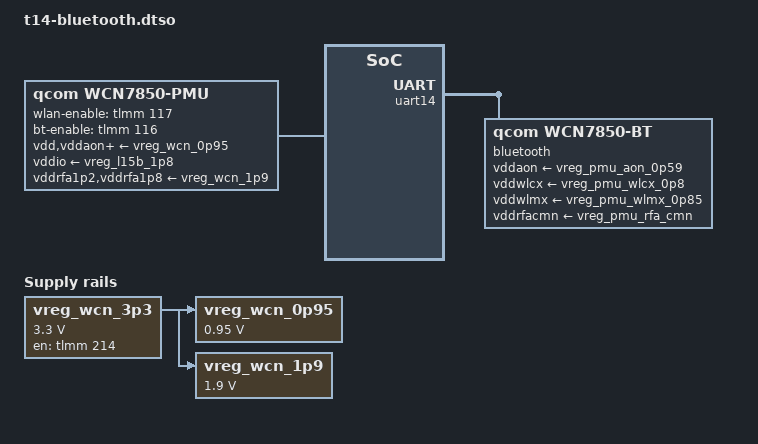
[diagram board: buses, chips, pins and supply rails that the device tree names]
// SPDX-License-Identifier: BSD-3-Clause
// T14s Gen 6 WCN7850 wiring, restored from the working 7.0 board tree.
// Apply only to x1e78100-lenovo-thinkpad-t14s.dtb.
/dts-v1/;
/plugin/;

&{/} {
	aliases {
		serial1 = "/soc@0/geniqup@ac0000/serial@a98000";
	};

	vreg_wcn_3p3: regulator-wcn-3p3 {
		compatible = "regulator-fixed";
		regulator-name = "VREG_WCN_3P3";
		regulator-min-microvolt = <3300000>;
		regulator-max-microvolt = <3300000>;
		gpio = <&tlmm 214 0>;
		enable-active-high;
		pinctrl-0 = <&wcn_sw_en>;
		pinctrl-names = "default";
		regulator-boot-on;
	};

	vreg_wcn_0p95: regulator-wcn-0p95 {
		compatible = "regulator-fixed";
		regulator-name = "VREG_WCN_0P95";
		regulator-min-microvolt = <950000>;
		regulator-max-microvolt = <950000>;
		vin-supply = <&vreg_wcn_3p3>;
	};

	vreg_wcn_1p9: regulator-wcn-1p9 {
		compatible = "regulator-fixed";
		regulator-name = "VREG_WCN_1P9";
		regulator-min-microvolt = <1900000>;
		regulator-max-microvolt = <1900000>;
		vin-supply = <&vreg_wcn_3p3>;
	};

	wcn7850-pmu {
		compatible = "qcom,wcn7850-pmu";
		vdd-supply = <&vreg_wcn_0p95>;
		vddio-supply = <&vreg_l15b_1p8>;
		vddaon-supply = <&vreg_wcn_0p95>;
		vdddig-supply = <&vreg_wcn_0p95>;
		vddrfa1p2-supply = <&vreg_wcn_1p9>;
		vddrfa1p8-supply = <&vreg_wcn_1p9>;
		wlan-enable-gpios = <&tlmm 117 0>;
		bt-enable-gpios = <&tlmm 116 0>;
		pinctrl-0 = <&wcn_wlan_bt_en>;
		pinctrl-names = "default";

		regulators {
			vreg_pmu_rfa_cmn: ldo0 { regulator-name = "vreg_pmu_rfa_cmn"; };
			vreg_pmu_aon_0p59: ldo1 { regulator-name = "vreg_pmu_aon_0p59"; };
			vreg_pmu_wlcx_0p8: ldo2 { regulator-name = "vreg_pmu_wlcx_0p8"; };
			vreg_pmu_wlmx_0p85: ldo3 { regulator-name = "vreg_pmu_wlmx_0p85"; };
			ldo4 { regulator-name = "vreg_pmu_btcmx_0p85"; };
			vreg_pmu_rfa_0p8: ldo5 { regulator-name = "vreg_pmu_rfa_0p8"; };
			vreg_pmu_rfa_1p2: ldo6 { regulator-name = "vreg_pmu_rfa_1p2"; };
			vreg_pmu_rfa_1p8: ldo7 { regulator-name = "vreg_pmu_rfa_1p8"; };
			ldo8 { regulator-name = "vreg_pmu_pcie_0p9"; };
			ldo9 { regulator-name = "vreg_pmu_pcie_1p8"; };
		};
	};
};

&tlmm {
	wcn_sw_en: wcn-sw-en-state {
		pins = "gpio214";
		function = "gpio";
		drive-strength = <2>;
		bias-disable;
	};

	wcn_wlan_bt_en: wcn-wlan-bt-en-state {
		pins = "gpio116", "gpio117";
		function = "gpio";
		drive-strength = <2>;
		bias-disable;
	};
};

&uart14 {
	status = "okay";
	bluetooth {
		compatible = "qcom,wcn7850-bt";
		max-speed = <3200000>;
		vddaon-supply = <&vreg_pmu_aon_0p59>;
		vddwlcx-supply = <&vreg_pmu_wlcx_0p8>;
		vddwlmx-supply = <&vreg_pmu_wlmx_0p85>;
		vddrfacmn-supply = <&vreg_pmu_rfa_cmn>;
		vddrfa0p8-supply = <&vreg_pmu_rfa_0p8>;
		vddrfa1p2-supply = <&vreg_pmu_rfa_1p2>;
		vddrfa1p8-supply = <&vreg_pmu_rfa_1p8>;
	};
};
